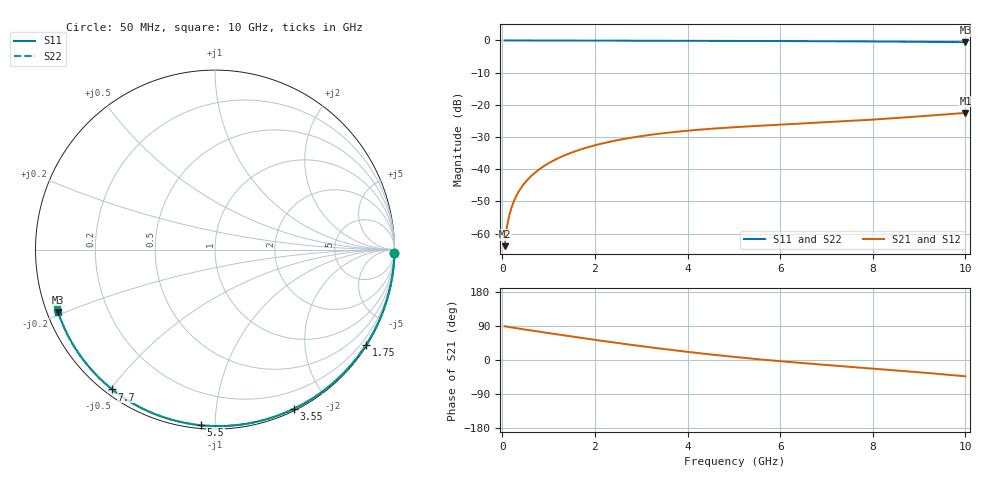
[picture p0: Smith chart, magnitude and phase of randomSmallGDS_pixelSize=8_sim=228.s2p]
! freq	dB(S11)	phase(S11)	dB(S12)	phase(S12)
!  dB(S21)	phase(S21)	dB(S22)	phase(S22)
!S-par simulation data
#  GHz  S  DB  R 50
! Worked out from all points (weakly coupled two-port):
!   200 points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, 50 MHz to 10 GHz, reference 50 ohm
!   highest |S21| = -22.50 dB at 10 GHz (marker M1); lowest = -63.9 dB at 50 MHz (marker M2)
!   lowest |S11| = -0.5 dB at 10 GHz (marker M3), VSWR 32.52, Z = 1.59 - j9.55 ohm
!   |S11| at or under -10 dB: nowhere
!   |S22| runs from -0.5 to 0.0 dB; largest |S21 - S12| = 0
!   S11 on the Smith chart (normalised r, x): 50 MHz: open; 1.75 GHz: 0.03, -3.45; 3.55 GHz: 0.02, -1.61; 5.5 GHz: 0.02, -0.92; 7.7 GHz: 0.02, -0.51; 10 GHz: 0.03, -0.19
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0.05  -0.00 -0.9  -63.89 89.0  -63.89 89.0  -0.00 -1.0
0.1  -0.00 -1.9  -57.88 88.0  -57.88 88.0  -0.00 -1.9
0.15  -0.00 -2.8  -54.36 87.0  -54.36 87.0  -0.00 -2.9
0.2  -0.00 -3.8  -51.87 86.0  -51.87 86.0  -0.00 -3.8
0.25  -0.00 -4.7  -49.95 85.0  -49.95 85.0  -0.00 -4.7
0.35  -0.00 -6.6  -47.05 83.0  -47.05 83.0  -0.01 -6.6
0.5  -0.01 -9.4  -43.99 80.2  -43.99 80.2  -0.01 -9.5
0.7  -0.01 -13.1  -41.13 76.5  -41.13 76.5  -0.02 -13.2
1  -0.02 -18.6  -38.13 71.0  -38.13 71.0  -0.02 -18.8
1.35  -0.03 -25.1  -35.66 64.7  -35.66 64.7  -0.03 -25.3
1.75  -0.04 -32.3  -33.59 57.6  -33.59 57.6  -0.04 -32.6
2.5  -0.06 -45.6  -30.94 44.7  -30.94 44.7  -0.06 -46.0
3.4  -0.09 -61.1  -28.94 30.3  -28.94 30.3  -0.09 -61.6
3.55  -0.09 -63.6  -28.69 28.1  -28.69 28.1  -0.09 -64.1
4.3  -0.11 -75.8  -27.66 17.3  -27.66 17.3  -0.11 -76.5
5.05  -0.14 -87.6  -26.91 7.7  -26.91 7.7  -0.14 -88.3
5.5  -0.16 -94.5  -26.54 2.4  -26.54 2.4  -0.16 -95.3
6.7  -0.22 -112.1  -25.65 -10.2  -25.65 -10.2  -0.23 -113.0
7.7  -0.30 -126.3  -24.84 -19.7  -24.84 -19.7  -0.30 -127.3
8.35  -0.35 -135.4  -24.24 -25.8  -24.24 -25.8  -0.35 -136.4
9.2  -0.44 -147.1  -23.37 -34.4  -23.37 -34.4  -0.44 -148.3
10  -0.53 -158.3  -22.50 -43.1  -22.50 -43.1  -0.54 -159.5
